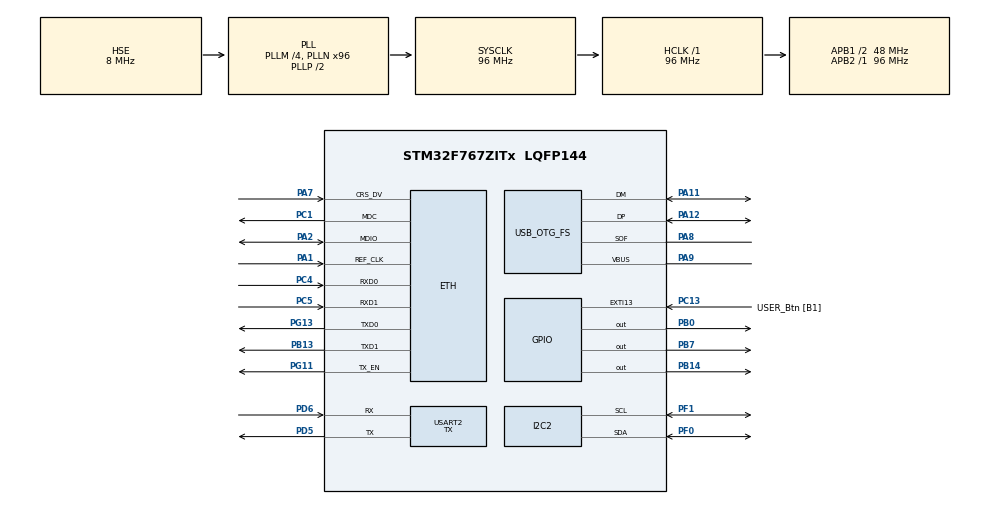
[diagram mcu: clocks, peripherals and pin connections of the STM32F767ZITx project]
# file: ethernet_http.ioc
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CORTEX_M7.AccessPermission-Cortex_Memory_Protection_Unit_Region0_Settings=MPU_REGION_FULL_ACCESS
CORTEX_M7.AccessPermission-Cortex_Memory_Protection_Unit_Region1_Settings=MPU_REGION_FULL_ACCESS
CORTEX_M7.BaseAddress-Cortex_Memory_Protection_Unit_Region0_Settings=0x20020000
CORTEX_M7.BaseAddress-Cortex_Memory_Protection_Unit_Region1_Settings=0x20040000
CORTEX_M7.CPU_DCache=Enabled
CORTEX_M7.CPU_ICache=Enabled
CORTEX_M7.DisableExec-Cortex_Memory_Protection_Unit_Region0_Settings=MPU_INSTRUCTION_ACCESS_DISABLE
CORTEX_M7.DisableExec-Cortex_Memory_Protection_Unit_Region1_Settings=MPU_INSTRUCTION_ACCESS_DISABLE
CORTEX_M7.Enable-Cortex_Memory_Protection_Unit_Region0_Settings=MPU_REGION_ENABLE
CORTEX_M7.Enable-Cortex_Memory_Protection_Unit_Region1_Settings=MPU_REGION_ENABLE
CORTEX_M7.IsBufferable-Cortex_Memory_Protection_Unit_Region1_Settings=MPU_ACCESS_NOT_BUFFERABLE
CORTEX_M7.IsShareable-Cortex_Memory_Protection_Unit_Region1_Settings=MPU_ACCESS_SHAREABLE
CORTEX_M7.MPU_Control=MPU_PRIVILEGED_DEFAULT
CORTEX_M7.PREFETCH_ENABLE=0
CORTEX_M7.Size-Cortex_Memory_Protection_Unit_Region0_Settings=MPU_REGION_SIZE_16KB
CORTEX_M7.Size-Cortex_Memory_Protection_Unit_Region1_Settings=MPU_REGION_SIZE_32KB
CORTEX_M7.TypeExtField-Cortex_Memory_Protection_Unit_Region0_Settings=MPU_TEX_LEVEL1
CORTEX_M7.TypeExtField-Cortex_Memory_Protection_Unit_Region1_Settings=MPU_TEX_LEVEL1
ETH.MACAddr=00\:80\:E1\:00\:00\:00
ETH.MediaInterface=HAL_ETH_RMII_MODE
ETH.RxDescAddress=0x20040000
ETH.TxDescAddress=0x20040100
FREERTOS.Tasks01=defaultTask,1,512,StartDefaultTask,Default,NULL,Dynamic,NULL,NULL;myTask02,-3,128,StartTask02,Default,NULL,Dynamic,NULL,NULL;myTask03,-3,128,StartTask03,Default,NULL,Dynamic,NULL,NULL
FREERTOS.configCHECK_FOR_STACK_OVERFLOW=0
FREERTOS.configTOTAL_HEAP_SIZE=24576
FREERTOS.configUSE_NEWLIB_REENTRANT=1
I2C2.Timing=0x20303E5D
LWIP.BSP.number=1
LWIP.CMSIS_VERSION-Enabled=1
LWIP.GATEWAY_ADDRESS=192.168.000.001
LWIP.IP_ADDRESS=192.168.000.123
LWIP.LWIP_DHCP=0
LWIP.LWIP_HTTPD=1
LWIP.LWIP_RAM_HEAP_POINTER=0x20020000
LWIP.MEM_SIZE=10*1024
LWIP.NETMASK_ADDRESS=255.255.255.000
LWIP.Version=v2.1.2_Cube
LWIP0.BSP.STBoard=false
LWIP0.BSP.api=BSP_COMPONENT_DRIVER
LWIP0.BSP.component=LAN8742
LWIP0.BSP.instance=LAN8742
LWIP0.BSP.name=Driver_PHY
LWIP0.BSP.semaphore=S_LAN8742
LWIP0.BSP.solution=LAN8742
Mcu.Family=STM32F7
Mcu.Name=STM32F767ZITx
Mcu.Package=LQFP144
NVIC.ETH_IRQn=true\:5\:0\:false\:false\:true\:true\:true\:true\:true
NVIC.OTG_FS_IRQn=true\:5\:0\:false\:false\:true\:true\:false\:true\:true
NVIC.PriorityGroup=NVIC_PRIORITYGROUP_4
NVIC.TIM6_DAC_IRQn=true\:15\:0\:false\:false\:true\:false\:false\:true\:true
NVIC.TimeBase=TIM6_DAC_IRQn
NVIC.TimeBaseIP=TIM6
PA1.GPIO_Mode=GPIO_MODE_AF_PP
PA1.GPIO_PuPd=GPIO_NOPULL
PA1.GPIO_Speed=GPIO_SPEED_FREQ_VERY_HIGH
PA1.Mode=RMII
PA1.Signal=ETH_REF_CLK
PA11.Mode=Device_Only
PA11.Signal=USB_OTG_FS_DM
PA12.Mode=Device_Only
PA12.Signal=USB_OTG_FS_DP
PA13.GPIO_Label=TMS
PA13.Mode=Serial_Wire
PA13.Signal=SYS_JTMS-SWDIO
PA14.GPIO_Label=TCK
PA14.Mode=Serial_Wire
PA14.Signal=SYS_JTCK-SWCLK
PA2.GPIO_Mode=GPIO_MODE_AF_PP
PA2.GPIO_PuPd=GPIO_NOPULL
PA2.GPIO_Speed=GPIO_SPEED_FREQ_VERY_HIGH
PA2.Mode=RMII
PA2.Signal=ETH_MDIO
PA7.GPIO_Mode=GPIO_MODE_AF_PP
PA7.GPIO_PuPd=GPIO_NOPULL
PA7.GPIO_Speed=GPIO_SPEED_FREQ_VERY_HIGH
PA7.Mode=RMII
PA7.Signal=ETH_CRS_DV
PA8.Mode=Activate_SOF_FS
PA8.Signal=USB_OTG_FS_SOF
PA9.Mode=Activate_VBUS
PA9.Signal=USB_OTG_FS_VBUS
PB0.Signal=GPIO_Output
PB13.GPIO_Mode=GPIO_MODE_AF_PP
PB13.GPIO_PuPd=GPIO_NOPULL
PB13.GPIO_Speed=GPIO_SPEED_FREQ_VERY_HIGH
PB13.Mode=RMII
PB13.Signal=ETH_TXD1
PB14.Signal=GPIO_Output
PB7.Signal=GPIO_Output
PC1.GPIO_Mode=GPIO_MODE_AF_PP
PC1.GPIO_PuPd=GPIO_NOPULL
PC1.GPIO_Speed=GPIO_SPEED_FREQ_VERY_HIGH
PC1.Mode=RMII
PC1.Signal=ETH_MDC
PC13.GPIO_Label=USER_Btn [B1]
PC13.Signal=GPXTI13
PC14/OSC32_IN.Signal=RCC_OSC32_IN
PC15/OSC32_OUT.Signal=RCC_OSC32_OUT
PC4.GPIO_Mode=GPIO_MODE_AF_PP
PC4.GPIO_PuPd=GPIO_NOPULL
PC4.GPIO_Speed=GPIO_SPEED_FREQ_VERY_HIGH
PC4.Mode=RMII
PC4.Signal=ETH_RXD0
PC5.GPIO_Mode=GPIO_MODE_AF_PP
PC5.GPIO_PuPd=GPIO_NOPULL
PC5.GPIO_Speed=GPIO_SPEED_FREQ_VERY_HIGH
PC5.Mode=RMII
PC5.Signal=ETH_RXD1
PD5.Mode=Asynchronous
PD5.Signal=USART2_TX
PD6.Mode=Asynchronous
PD6.Signal=USART2_RX
PF0.Mode=I2C
PF0.Signal=I2C2_SDA
PF1.Mode=I2C
PF1.Signal=I2C2_SCL
PG11.GPIO_Mode=GPIO_MODE_AF_PP
PG11.GPIO_PuPd=GPIO_NOPULL
PG11.GPIO_Speed=GPIO_SPEED_FREQ_VERY_HIGH
PG11.Mode=RMII
PG11.Signal=ETH_TX_EN
PG13.GPIO_Mode=GPIO_MODE_AF_PP
PG13.GPIO_PuPd=GPIO_NOPULL
PG13.GPIO_Speed=GPIO_SPEED_FREQ_VERY_HIGH
PG13.Mode=RMII
PG13.Signal=ETH_TXD0
PH0/OSC_IN.GPIO_Label=MCO [STM32F103CBT6_PA8]
PH0/OSC_IN.Mode=HSE-External-Oscillator
PH0/OSC_IN.Signal=RCC_OSC_IN
PH1/OSC_OUT.Mode=HSE-External-Oscillator
PH1/OSC_OUT.Signal=RCC_OSC_OUT
ProjectManager.HeapSize=0x200
ProjectManager.StackSize=0x400
ProjectManager.TargetToolchain=STM32CubeIDE
RCC.48MHZClocksFreq_Value=24000000
RCC.AHBFreq_Value=96000000
RCC.APB1CLKDivider=RCC_HCLK_DIV2
RCC.APB1Freq_Value=48000000
RCC.APB1TimFreq_Value=96000000
RCC.APB2Freq_Value=96000000
RCC.APB2TimFreq_Value=96000000
RCC.CortexFreq_Value=96000000
RCC.HCLKFreq_Value=96000000
RCC.HSE_VALUE=8000000
RCC.HSI_VALUE=16000000
RCC.LSE_VALUE=32768
RCC.PLLM=4
RCC.PLLMUL=RCC_PLL_MUL9
RCC.PLLN=96
RCC.PLLQ=4
RCC.PRESCALERUSB=RCC_USBCLKSOURCE_PLL_DIV1_5
RCC.SYSCLKFreq_VALUE=96000000
RCC.SYSCLKSource=RCC_SYSCLKSOURCE_PLLCLK
RCC.SYSCLKSourceVirtual=RCC_SYSCLKSOURCE_PLLCLK
RCC.USART2CLockSelection=RCC_USART2CLKSOURCE_HSI
RCC.USBFreq_Value=48000000
RCC.VCOOutputFreq_Value=192000000
USART2.Mode=MODE_TX
USART2.VirtualMode-Asynchronous=VM_ASYNC
USB_DEVICE.CLASS_NAME_FS=CDC
USB_DEVICE.VirtualMode-CDC_FS=Cdc
USB_DEVICE.VirtualModeFS=Cdc_FS
USB_OTG_FS.VirtualMode=Device_Only
VP_FREERTOS_VS_CMSIS_V1.Mode=CMSIS_V1
VP_LWIP_VS_Enabled.Mode=Enabled
VP_SYS_VS_tim6.Mode=TIM6
VP_USB_DEVICE_VS_USB_DEVICE_CDC_FS.Mode=CDC_FS
board=NUCLEO-F767ZI

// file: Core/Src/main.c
/* USER CODE BEGIN Header */
/**
  ******************************************************************************
  * @file           : main.c
  * @brief          : Main program body
  ******************************************************************************
  * @attention
  *
  * Copyright (c) 2025 STMicroelectronics.
  * All rights reserved.
  *
  * This software is licensed under terms that can be found in the LICENSE file
  * in the root directory of this software component.
  * If no LICENSE file comes with this software, it is provided AS-IS.
  *
  ******************************************************************************
  */
/* USER CODE END Header */
#include "main.h"
#include "cmsis_os.h"
#include "lwip.h"
#include "usb_device.h"

/* USER CODE BEGIN Includes */
#include "BME280_STM32.h"
#include "httpserver.h"
/* USER CODE END Includes */

/* USER CODE BEGIN PD */
float Temperature, Pressure, Humidity; // Параметры среды
uint8_t data[5]={160,0,0,0,254}; // Массив для отправки данных на ESP32
uint8_t alert[3]; // Параметры микроклимата 1-Давление 2-Температура 3-Влажность
/* USER CODE END PD */

I2C_HandleTypeDef hi2c2;

UART_HandleTypeDef huart2;

osThreadId defaultTaskHandle;
osThreadId myTask02Handle;
osThreadId myTask03Handle;

void SystemClock_Config(void);
static void MPU_Config(void);
static void MX_GPIO_Init(void);
static void MX_I2C2_Init(void);
static void MX_USART2_UART_Init(void);
void StartDefaultTask(void const * argument);
void StartTask02(void const * argument);
void StartTask03(void const * argument);

int main(void)
{

  /* MPU Configuration--------------------------------------------------------*/
  MPU_Config();

  /* Enable the CPU Cache */

  /* Enable I-Cache---------------------------------------------------------*/
  SCB_EnableICache();

  /* Enable D-Cache---------------------------------------------------------*/
  SCB_EnableDCache();

  /* MCU Configuration--------------------------------------------------------*/

  /* Reset of all peripherals, Initializes the Flash interface and the Systick. */
  HAL_Init();

  /* Configure the system clock */
  SystemClock_Config();

  /* Initialize all configured peripherals */
  MX_GPIO_Init();
  MX_I2C2_Init();
  MX_USART2_UART_Init();

  /* Create the thread(s) */
  /* definition and creation of defaultTask */
  osThreadDef(defaultTask, StartDefaultTask, osPriorityAboveNormal, 0, 512);
  defaultTaskHandle = osThreadCreate(osThread(defaultTask), NULL);

  /* definition and creation of myTask02 */
  osThreadDef(myTask02, StartTask02, osPriorityIdle, 0, 128);
  myTask02Handle = osThreadCreate(osThread(myTask02), NULL);

  /* definition and creation of myTask03 */
  osThreadDef(myTask03, StartTask03, osPriorityIdle, 0, 128);
  myTask03Handle = osThreadCreate(osThread(myTask03), NULL);

  /* Start scheduler */
  osKernelStart();

  /* We should never get here as control is now taken by the scheduler */

  /* Infinite loop */
  while (1)
  {

  }
}

void SystemClock_Config(void)
{
  RCC_OscInitTypeDef RCC_OscInitStruct = {0};
  RCC_ClkInitTypeDef RCC_ClkInitStruct = {0};

  /** Configure the main internal regulator output voltage
  */
  __HAL_RCC_PWR_CLK_ENABLE();
  __HAL_PWR_VOLTAGESCALING_CONFIG(PWR_REGULATOR_VOLTAGE_SCALE3);

  /** Initializes the RCC Oscillators according to the specified parameters
  * in the RCC_OscInitTypeDef structure.
  */
  RCC_OscInitStruct.OscillatorType = RCC_OSCILLATORTYPE_HSI|RCC_OSCILLATORTYPE_HSE;
  RCC_OscInitStruct.HSEState = RCC_HSE_ON;
  RCC_OscInitStruct.HSIState = RCC_HSI_ON;
  RCC_OscInitStruct.HSICalibrationValue = RCC_HSICALIBRATION_DEFAULT;
  RCC_OscInitStruct.PLL.PLLState = RCC_PLL_ON;
  RCC_OscInitStruct.PLL.PLLSource = RCC_PLLSOURCE_HSE;
  RCC_OscInitStruct.PLL.PLLM = 4;
  RCC_OscInitStruct.PLL.PLLN = 96;
  RCC_OscInitStruct.PLL.PLLP = RCC_PLLP_DIV2;
  RCC_OscInitStruct.PLL.PLLQ = 4;
  RCC_OscInitStruct.PLL.PLLR = 2;
  if (HAL_RCC_OscConfig(&RCC_OscInitStruct) != HAL_OK)
  {
    Error_Handler();
  }

  /** Activate the Over-Drive mode
  */
  if (HAL_PWREx_EnableOverDrive() != HAL_OK)
  {
    Error_Handler();
  }

  /** Initializes the CPU, AHB and APB buses clocks
  */
  RCC_ClkInitStruct.ClockType = RCC_CLOCKTYPE_HCLK|RCC_CLOCKTYPE_SYSCLK
                              |RCC_CLOCKTYPE_PCLK1|RCC_CLOCKTYPE_PCLK2;
  RCC_ClkInitStruct.SYSCLKSource = RCC_SYSCLKSOURCE_PLLCLK;
  RCC_ClkInitStruct.AHBCLKDivider = RCC_SYSCLK_DIV1;
  RCC_ClkInitStruct.APB1CLKDivider = RCC_HCLK_DIV2;
  RCC_ClkInitStruct.APB2CLKDivider = RCC_HCLK_DIV1;

  if (HAL_RCC_ClockConfig(&RCC_ClkInitStruct, FLASH_LATENCY_3) != HAL_OK)
  {
    Error_Handler();
  }
}

static void MX_I2C2_Init(void)
{

  hi2c2.Instance = I2C2;
  hi2c2.Init.Timing = 0x20303E5D;
  hi2c2.Init.OwnAddress1 = 0;
  hi2c2.Init.AddressingMode = I2C_ADDRESSINGMODE_7BIT;
  hi2c2.Init.DualAddressMode = I2C_DUALADDRESS_DISABLE;
  hi2c2.Init.OwnAddress2 = 0;
  hi2c2.Init.OwnAddress2Masks = I2C_OA2_NOMASK;
  hi2c2.Init.GeneralCallMode = I2C_GENERALCALL_DISABLE;
  hi2c2.Init.NoStretchMode = I2C_NOSTRETCH_DISABLE;
  if (HAL_I2C_Init(&hi2c2) != HAL_OK)
  {
    Error_Handler();
  }

  /** Configure Analogue filter
  */
  if (HAL_I2CEx_ConfigAnalogFilter(&hi2c2, I2C_ANALOGFILTER_ENABLE) != HAL_OK)
  {
    Error_Handler();
  }

  /** Configure Digital filter
  */
  if (HAL_I2CEx_ConfigDigitalFilter(&hi2c2, 0) != HAL_OK)
  {
    Error_Handler();
  }

}

static void MX_USART2_UART_Init(void)
{

  huart2.Instance = USART2;
  huart2.Init.BaudRate = 115200;
  huart2.Init.WordLength = UART_WORDLENGTH_8B;
  huart2.Init.StopBits = UART_STOPBITS_1;
  huart2.Init.Parity = UART_PARITY_NONE;
  huart2.Init.Mode = UART_MODE_TX;
  huart2.Init.HwFlowCtl = UART_HWCONTROL_NONE;
  huart2.Init.OverSampling = UART_OVERSAMPLING_16;
  huart2.Init.OneBitSampling = UART_ONE_BIT_SAMPLE_DISABLE;
  huart2.AdvancedInit.AdvFeatureInit = UART_ADVFEATURE_NO_INIT;
  if (HAL_UART_Init(&huart2) != HAL_OK)
  {
    Error_Handler();
  }

}

static void MX_GPIO_Init(void)
{
  GPIO_InitTypeDef GPIO_InitStruct = {0};

  /* GPIO Ports Clock Enable */
  __HAL_RCC_GPIOC_CLK_ENABLE();
  __HAL_RCC_GPIOF_CLK_ENABLE();
  __HAL_RCC_GPIOH_CLK_ENABLE();
  __HAL_RCC_GPIOA_CLK_ENABLE();
  __HAL_RCC_GPIOB_CLK_ENABLE();
  __HAL_RCC_GPIOD_CLK_ENABLE();
  __HAL_RCC_GPIOG_CLK_ENABLE();

  /*Configure GPIO pin Output Level */
  HAL_GPIO_WritePin(GPIOB, GPIO_PIN_0|GPIO_PIN_14|GPIO_PIN_7, GPIO_PIN_RESET);

  /*Configure GPIO pin : USER_Btn_Pin */
  GPIO_InitStruct.Pin = USER_Btn_Pin;
  GPIO_InitStruct.Mode = GPIO_MODE_IT_RISING;
  GPIO_InitStruct.Pull = GPIO_NOPULL;
  HAL_GPIO_Init(USER_Btn_GPIO_Port, &GPIO_InitStruct);

  /*Configure GPIO pins : PB0 PB14 PB7 */
  GPIO_InitStruct.Pin = GPIO_PIN_0|GPIO_PIN_14|GPIO_PIN_7;
  GPIO_InitStruct.Mode = GPIO_MODE_OUTPUT_PP;
  GPIO_InitStruct.Pull = GPIO_NOPULL;
  GPIO_InitStruct.Speed = GPIO_SPEED_FREQ_LOW;
  HAL_GPIO_Init(GPIOB, &GPIO_InitStruct);

}

void StartDefaultTask(void const * argument)
{
  /* init code for LWIP */
  MX_LWIP_Init();

  /* init code for USB_DEVICE */
  /* USER CODE BEGIN 5 */
  http_server_init(); //Инициализируем работу веб-сервера
  BME280_Config(OSRS_2, OSRS_16, OSRS_1, MODE_NORMAL, T_SB_0p5, IIR_16); // Отправляем настройки для датчика BME280
  /* Infinite loop */
  for(;;)
  {
		//Обработка уведомлений с клиента сайта
		if (alert[0]==49) {
			HAL_GPIO_WritePin(GPIOB,GPIO_PIN_0,GPIO_PIN_SET); //Включаем реле 1 если поступило уведомление о превышении температуры
		}
		else{
			HAL_GPIO_WritePin(GPIOB,GPIO_PIN_0,GPIO_PIN_RESET); //Иначе выключаем реле 1
		}

		if (alert[0]==50) {
			HAL_GPIO_WritePin(GPIOB,GPIO_PIN_14,GPIO_PIN_SET); //Включаем реле 2 если поступило уведомление о малом значении температуры
		}
		else{
			HAL_GPIO_WritePin(GPIOB,GPIO_PIN_14,GPIO_PIN_RESET); //Иначе выключаем реле 2
			}
		osDelay(1);
   }
  /* USER CODE END 5 */
}

void StartTask02(void const * argument)
{
  /* USER CODE BEGIN StartTask02 */
  /* Infinite loop */
  for(;;)
  {
	BME280_Measure();
	HAL_GPIO_TogglePin(GPIOB, GPIO_PIN_7); //Переключение светодиода для индикации работы системы
    osDelay(500);
  }
  /* USER CODE END StartTask02 */
}

void StartTask03(void const * argument)
{
  /* USER CODE BEGIN StartTask03 */
  /* Infinite loop */
  for(;;)
  {
	//Собираем массив с данными о климате и отправляем по UART
	data[0]=160;
	data[1]=(int)Temperature;
	data[2]=(uint8_t)(Pressure/1000);
	data[3]=(int)Humidity;
	data[4]=254;
	HAL_UART_Transmit(&huart2, data, sizeof(data), HAL_MAX_DELAY);
    osDelay(800);
  }
  /* USER CODE END StartTask03 */
}

 /* MPU Configuration */

void MPU_Config(void)
{
  MPU_Region_InitTypeDef MPU_InitStruct = {0};

  /* Disables the MPU */
  HAL_MPU_Disable();

  /** Initializes and configures the Region and the memory to be protected
  */
  MPU_InitStruct.Enable = MPU_REGION_ENABLE;
  MPU_InitStruct.Number = MPU_REGION_NUMBER0;
  MPU_InitStruct.BaseAddress = 0x20020000;
  MPU_InitStruct.Size = MPU_REGION_SIZE_16KB;
  MPU_InitStruct.SubRegionDisable = 0x0;
  MPU_InitStruct.TypeExtField = MPU_TEX_LEVEL1;
  MPU_InitStruct.AccessPermission = MPU_REGION_FULL_ACCESS;
  MPU_InitStruct.DisableExec = MPU_INSTRUCTION_ACCESS_DISABLE;
  MPU_InitStruct.IsShareable = MPU_ACCESS_NOT_SHAREABLE;
  MPU_InitStruct.IsCacheable = MPU_ACCESS_NOT_CACHEABLE;
  MPU_InitStruct.IsBufferable = MPU_ACCESS_NOT_BUFFERABLE;

  HAL_MPU_ConfigRegion(&MPU_InitStruct);

  /** Initializes and configures the Region and the memory to be protected
  */
  MPU_InitStruct.Number = MPU_REGION_NUMBER1;
  MPU_InitStruct.BaseAddress = 0x20040000;
  MPU_InitStruct.Size = MPU_REGION_SIZE_32KB;
  MPU_InitStruct.IsShareable = MPU_ACCESS_SHAREABLE;

  HAL_MPU_ConfigRegion(&MPU_InitStruct);
  /* Enables the MPU */
  HAL_MPU_Enable(MPU_PRIVILEGED_DEFAULT);

}

void HAL_TIM_PeriodElapsedCallback(TIM_HandleTypeDef *htim)
{
  if (htim->Instance == TIM6)
  {
    HAL_IncTick();
  }
}

void Error_Handler(void)
{
  __disable_irq();
  while (1)
  {
  }
}
